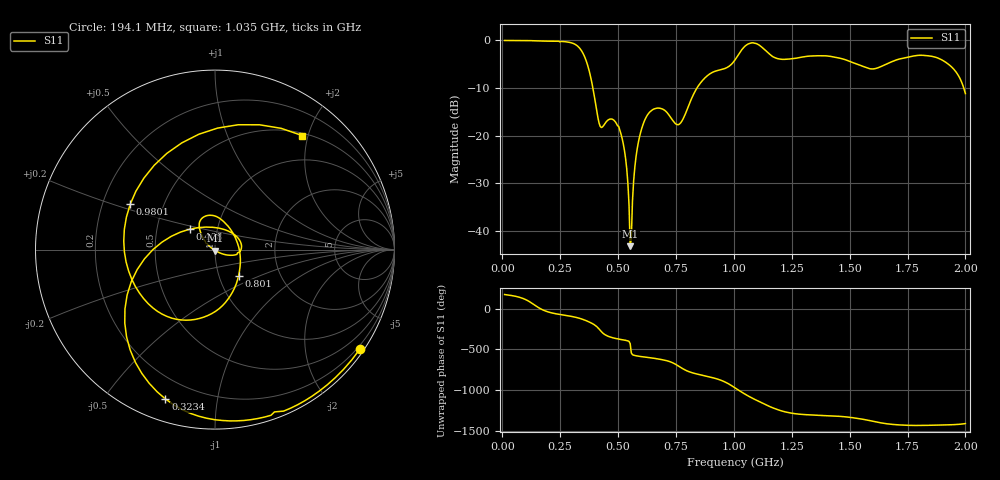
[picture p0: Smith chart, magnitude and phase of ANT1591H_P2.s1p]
!Created with skrf (http://scikit-rf.org).
# Hz S RI R 50.0
!freq ReS11 ImS11
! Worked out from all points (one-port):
!   401 points, 10 MHz to 2 GHz, reference 50 ohm
!   lowest |S11| = -43.2 dB at 552.3 MHz (marker M1), VSWR 1.01, Z = 50.3 - j0.644 ohm
!   |S11| at or under -10 dB: 391.1 MHz to 840.8 MHz (449.7 MHz wide, 73 % of centre); 1.992787 GHz to end of sweep
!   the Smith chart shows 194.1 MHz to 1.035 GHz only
!   S11 on the Smith chart (normalised r, x): 194.1 MHz: 0.12, -3.23; 323.4 MHz: 0.10, -0.72; 408 MHz: 0.74, +0.17; 801 MHz: 1.24, -0.37; 980.1 MHz: 0.32, +0.23; 1.035 GHz: 0.54, +1.90
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1e7  -0.9938 0.0649
7.4675e7  -0.7849 0.6084
1.1945e8  0.0852 0.9899
1.54275e8  0.9311 0.3258
1.94075e8  0.8086 -0.5523
2.5875e8  0.2734 -0.9336
3.23425e8  -0.2766 -0.8319
3.63225e8  -0.5017 -0.3306
4.08e8  -0.1413 0.1136
5.075e8  0.1106 -0.0299
5.32375e8  0.0513 -0.0268
5.52275e8  0.0026 -0.00641
5.871e8  -0.0616 0.0568
6.21925e8  -0.088 0.13
7.5625e8  0.1191 0.0526
8.01025e8  0.1316 -0.1451
9.055e8  -0.267 -0.3725
9.80125e8  -0.4726 0.252
1.005e9  -0.1857 0.5942
1.03485e9  0.4864 0.6352
1.07465e9  0.916 -0.2003
1.119425e9  0.2126 -0.8267
1.17415e9  -0.5447 -0.3765
1.25375e9  -0.5733 0.2873
1.5025e9  -0.1407 0.5811
1.75125e9  0.6612 0.0666
1.885575e9  0.6372 0.0998
2e9  0.2447 0.1274
